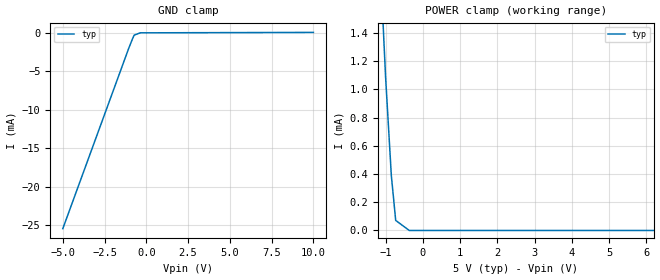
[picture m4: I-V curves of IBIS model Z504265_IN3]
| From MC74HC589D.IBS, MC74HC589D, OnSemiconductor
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| (C) COPYRIGHT 1993-2000
| MENTOR GRAPHICS CORPORATION
| ICX STANDARD LIBRARY, ICX PROJECT MODELING,
| ICX CUSTOM MODELING, ICX VENDOR MODEL
| ALL RIGHTS RESERVED.
| THE FOLLOWING ARE TRADEMARKS OR SERVICE MARKS OF
| MENTOR GRAPHICS CORPORATION:ICX (R), ICX STANDARD
| LIBRARY(R), ICX PROJECT MODELING(R), ICX CUSTOM
| MODELING(R), qualityIBIS(TM), MODELVIEWER(TM),
| AND MODELEDITOR(TM)
| ALL COPIES OF SOFTWARE, INCLUDING BUT NOT LIMITED TO
| ANY MODIFICATIONS, ENHANCEMENTS OR DERIVATIVE WORKS,
| MUST CONTAIN ALL MENTOR GRAPHICS CORPORATION'S
| NOTICES AND LEGENDS, INCLUDING THOSE EMBEDDED IN
| SOFTWARE AND THOSE AFFIXED TO SOFTWARE MEDIUM
| AND CONTAINER, AS RECEIVED FROM MENTOR GRAPHICS
| CORPORATION.
| Model Application Version 1.89 2/18/99.
[Model] Z504265_IN3
Model_type Input
Vinl = 1.000V
Vinh = 3.500V
C_comp 4.000pF NA NA
| variable typ   min   max
[Voltage Range] 5.000V NA NA
[GND Clamp Reference] 0.000V NA NA
[POWER Clamp Reference] 5.000V NA NA
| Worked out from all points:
|   GND clamp passes 1 mA (typ) near -0.86 V on its own axis
|   POWER clamp passes 1 mA (typ) near -0.98 V on its own axis
[GND Clamp]
-5V       -25.44mA   NA         NA
-1.064V   -2.1mA     NA         NA
-819.8mV  -767uA     NA         NA
-726.2mV  -328uA     NA         NA
-363.1mV  -31.97uA   NA         NA
10V       24.65uA    NA         NA
[POWER Clamp]
-5V       25.06mA    NA         NA
-1.396V   3.324mA    NA         NA
-1V       1.09mA     NA         NA
-845mV    389.2uA    NA         NA
-728mV    71.35uA    NA         NA
-364mV    0A         NA         NA
10V       0A         NA         NA
